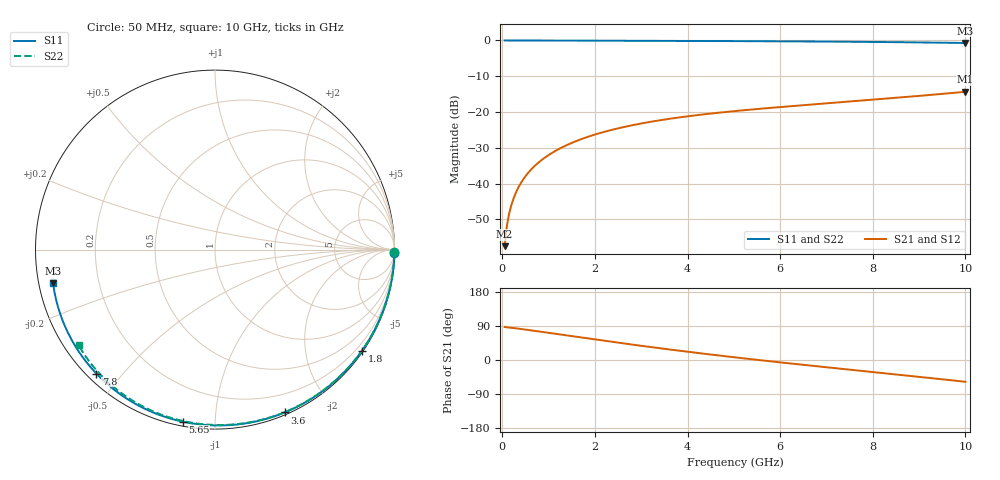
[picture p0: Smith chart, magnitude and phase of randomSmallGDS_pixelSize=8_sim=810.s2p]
! freq	dB(S11)	phase(S11)	dB(S12)	phase(S12)
!  dB(S21)	phase(S21)	dB(S22)	phase(S22)
!S-par simulation data
#  GHz  S  DB  R 50
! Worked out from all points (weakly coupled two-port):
!   200 points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, 50 MHz to 10 GHz, reference 50 ohm
!   highest |S21| = -14.35 dB at 10 GHz (marker M1); lowest = -57.5 dB at 50 MHz (marker M2)
!   lowest |S11| = -0.7 dB at 10 GHz (marker M3), VSWR 24.48, Z = 2.06 - j5.15 ohm
!   |S11| at or under -10 dB: nowhere
!   |S22| runs from -0.6 to 0.0 dB; largest |S21 - S12| = 0
!   S11 on the Smith chart (normalised r, x): 50 MHz: open; 1.8 GHz: 0.03, -3.22; 3.6 GHz: 0.02, -1.52; 5.65 GHz: 0.02, -0.83; 7.8 GHz: 0.03, -0.43; 10 GHz: 0.04, -0.10
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0.05  -0.00 -1.0  -57.52 87.2  -57.52 87.2  -0.00 -0.9
0.1  -0.00 -2.0  -51.70 86.2  -51.70 86.2  -0.00 -1.7
0.15  -0.00 -2.9  -48.28 85.6  -48.28 85.6  -0.00 -2.6
0.2  -0.00 -3.9  -45.84 85.0  -45.84 85.0  -0.00 -3.4
0.35  -0.01 -6.8  -41.04 82.8  -41.04 82.8  -0.00 -6.0
0.5  -0.01 -9.7  -37.97 80.3  -37.97 80.3  -0.01 -8.5
0.7  -0.02 -13.6  -35.08 76.8  -35.08 76.8  -0.01 -11.9
1  -0.03 -19.3  -32.04 71.6  -32.04 71.6  -0.02 -16.9
1.35  -0.04 -26.0  -29.51 65.4  -29.51 65.4  -0.03 -22.7
1.75  -0.05 -33.5  -27.38 58.4  -27.38 58.4  -0.04 -29.3
1.8  -0.05 -34.5  -27.15 57.6  -27.15 57.6  -0.05 -30.1
2.6  -0.08 -49.2  -24.27 44.0  -24.27 44.0  -0.07 -43.0
3.4  -0.11 -63.4  -22.32 31.1  -22.32 31.1  -0.10 -55.5
3.6  -0.11 -66.8  -21.92 28.0  -21.92 28.0  -0.10 -58.6
4.3  -0.14 -78.7  -20.73 17.4  -20.73 17.4  -0.13 -69.1
5.05  -0.18 -91.1  -19.71 6.6  -19.71 6.6  -0.16 -80.0
5.65  -0.22 -100.6  -19.00 -1.6  -19.00 -1.6  -0.20 -88.4
6.7  -0.29 -117.0  -17.90 -15.3  -17.90 -15.3  -0.26 -102.6
7.8  -0.39 -133.7  -16.79 -29.1  -16.79 -29.1  -0.35 -117.0
8.35  -0.45 -142.1  -16.21 -36.0  -16.21 -36.0  -0.41 -124.0
9.2  -0.57 -155.3  -15.28 -46.8  -15.28 -46.8  -0.52 -134.8
10  -0.71 -168.2  -14.35 -57.5  -14.35 -57.5  -0.65 -144.9
